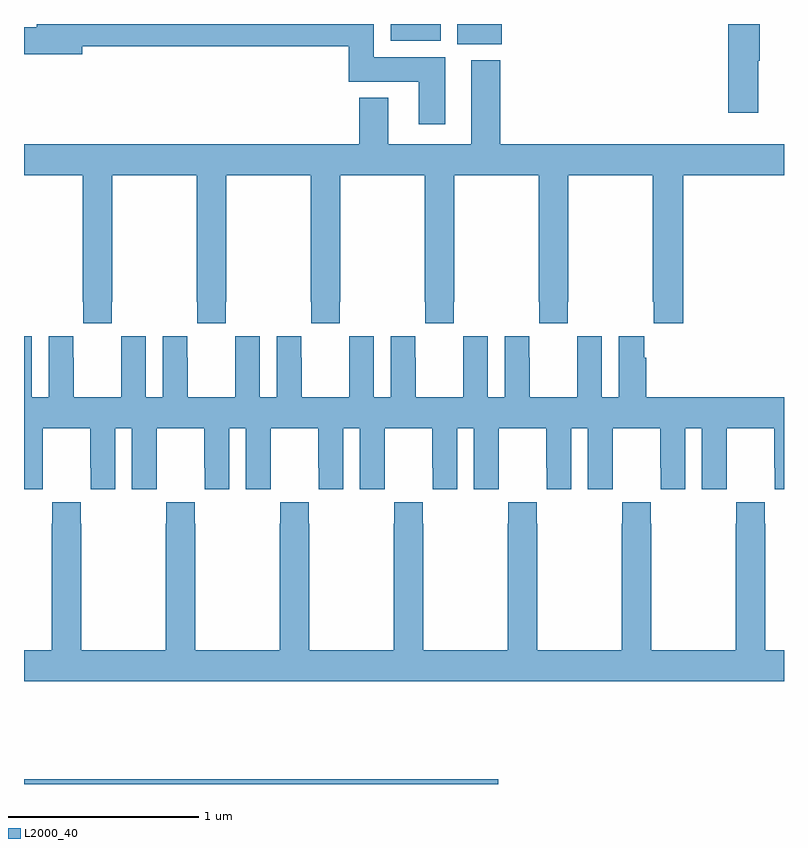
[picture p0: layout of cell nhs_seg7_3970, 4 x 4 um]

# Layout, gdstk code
import gdstk
lib = gdstk.Library(unit=1e-6, precision=1e-09)
def R(c, l, rs):  # rectangles x0, y0, x1, y1
    for r in rs: c.add(gdstk.rectangle(r[:2], r[2:], *l))
def P(c, l, *ps):  # polygons
    for p in ps: c.add(gdstk.Polygon(p, *l))
L2000_40 = (2000, 40)

nhs_seg7_3970 = lib.new_cell('nhs_seg7_3970')
R(nhs_seg7_3970, L2000_40, [(361,1076,363.496,1076.024), (363.281,1079.894,363.514,1080), (362.93,1079.912,363.193,1080)])
P(nhs_seg7_3970, L2000_40, [(364.864,1079.806),(364.872,1079.806),(364.872,1080),(364.706,1080),(364.706,1079.532),(364.864,1079.532)],
  [(363.217,1079.824),(362.842,1079.824),(362.842,1080),(361.067,1080),(361.067,1079.984),(361,1079.984),(361,1079.842),(361.306,1079.842),(361.306,1079.884),(362.708,1079.884),(362.708,1079.696),(363.077,1079.696),(363.077,1079.472),(363.217,1079.472)],
  [(361.461,1078.537),(361.464,1078.537),(361.464,1079.204),(361.909,1079.204),(361.909,1078.537),(361.911,1078.537),(361.911,1078.425),(362.061,1078.425),(362.061,1078.537),(362.064,1078.537),(362.064,1079.204),(362.509,1079.204),(362.509,1078.537),(362.511,1078.537),(362.511,1078.425),(362.661,1078.425),(362.661,1078.537),(362.664,1078.537),(362.664,1079.204),(363.109,1079.204),(363.109,1078.537),(363.111,1078.537),(363.111,1078.425),(363.261,1078.425),(363.261,1078.537),(363.264,1078.537),(363.264,1079.204),(363.709,1079.204),(363.709,1078.537),(363.711,1078.537),(363.711,1078.425),(363.861,1078.425),(363.861,1078.537),(363.864,1078.537),(363.864,1079.204),(364.309,1079.204),(364.309,1078.537),(364.315,1078.537),(364.315,1078.425),(364.469,1078.425),(364.469,1079.204),(365,1079.204),(365,1079.368),(363.506,1079.368),(363.506,1079.809),(363.353,1079.809),(363.353,1079.368),(362.917,1079.368),(362.917,1079.611),(362.765,1079.611),(362.765,1079.368),(361,1079.368),(361,1079.204),(361.309,1079.204),(361.309,1078.537),(361.311,1078.537),(361.311,1078.425),(361.461,1078.425)],
  [(361.098,1077.664),(361.099,1077.664),(361.099,1077.872),(361.349,1077.872),(361.349,1077.664),(361.35,1077.664),(361.35,1077.552),(361.48,1077.552),(361.48,1077.872),(361.568,1077.872),(361.568,1077.552),(361.698,1077.552),(361.698,1077.664),(361.699,1077.664),(361.699,1077.872),(361.949,1077.872),(361.949,1077.664),(361.95,1077.664),(361.95,1077.552),(362.08,1077.552),(362.08,1077.872),(362.168,1077.872),(362.168,1077.552),(362.298,1077.552),(362.298,1077.664),(362.299,1077.664),(362.299,1077.872),(362.549,1077.872),(362.549,1077.664),(362.55,1077.664),(362.55,1077.552),(362.68,1077.552),(362.68,1077.872),(362.768,1077.872),(362.768,1077.552),(362.898,1077.552),(362.898,1077.664),(362.899,1077.664),(362.899,1077.872),(363.149,1077.872),(363.149,1077.664),(363.15,1077.664),(363.15,1077.552),(363.28,1077.552),(363.28,1077.872),(363.368,1077.872),(363.368,1077.552),(363.498,1077.552),(363.498,1077.664),(363.499,1077.664),(363.499,1077.872),(363.749,1077.872),(363.749,1077.664),(363.75,1077.664),(363.75,1077.552),(363.88,1077.552),(363.88,1077.872),(363.968,1077.872),(363.968,1077.552),(364.098,1077.552),(364.098,1077.664),(364.099,1077.664),(364.099,1077.872),(364.349,1077.872),(364.349,1077.664),(364.35,1077.664),(364.35,1077.552),(364.48,1077.552),(364.48,1077.872),(364.568,1077.872),(364.568,1077.552),(364.698,1077.552),(364.698,1077.664),(364.699,1077.664),(364.699,1077.872),(364.949,1077.872),(364.949,1077.664),(364.95,1077.664),(364.95,1077.552),(365,1077.552),(365,1078.036),(364.274,1078.036),(364.274,1078.244),(364.264,1078.244),(364.264,1078.357),(364.13,1078.357),(364.13,1078.036),(364.042,1078.036),(364.042,1078.357),(363.912,1078.357),(363.912,1078.244),(363.911,1078.244),(363.911,1078.036),(363.661,1078.036),(363.661,1078.244),(363.66,1078.244),(363.66,1078.357),(363.53,1078.357),(363.53,1078.036),(363.442,1078.036),(363.442,1078.357),(363.312,1078.357),(363.312,1078.244),(363.311,1078.244),(363.311,1078.036),(363.061,1078.036),(363.061,1078.244),(363.06,1078.244),(363.06,1078.357),(362.93,1078.357),(362.93,1078.036),(362.842,1078.036),(362.842,1078.357),(362.712,1078.357),(362.712,1078.244),(362.711,1078.244),(362.711,1078.036),(362.461,1078.036),(362.461,1078.244),(362.46,1078.244),(362.46,1078.357),(362.33,1078.357),(362.33,1078.036),(362.242,1078.036),(362.242,1078.357),(362.112,1078.357),(362.112,1078.244),(362.111,1078.244),(362.111,1078.036),(361.861,1078.036),(361.861,1078.244),(361.86,1078.244),(361.86,1078.357),(361.73,1078.357),(361.73,1078.036),(361.642,1078.036),(361.642,1078.357),(361.512,1078.357),(361.512,1078.244),(361.511,1078.244),(361.511,1078.036),(361.261,1078.036),(361.261,1078.244),(361.26,1078.244),(361.26,1078.357),(361.13,1078.357),(361.13,1078.036),(361.042,1078.036),(361.042,1078.357),(361,1078.357),(361,1077.552),(361.098,1077.552)],
  [(361.899,1077.371),(361.899,1077.484),(361.749,1077.484),(361.749,1077.371),(361.747,1077.371),(361.747,1076.704),(361.302,1076.704),(361.302,1077.371),(361.299,1077.371),(361.299,1077.484),(361.149,1077.484),(361.149,1077.371),(361.147,1077.371),(361.147,1076.704),(361,1076.704),(361,1076.54),(365,1076.54),(365,1076.704),(364.902,1076.704),(364.902,1077.371),(364.899,1077.371),(364.899,1077.484),(364.749,1077.484),(364.749,1077.371),(364.747,1077.371),(364.747,1076.704),(364.302,1076.704),(364.302,1077.371),(364.299,1077.371),(364.299,1077.484),(364.149,1077.484),(364.149,1077.371),(364.147,1077.371),(364.147,1076.704),(363.702,1076.704),(363.702,1077.371),(363.699,1077.371),(363.699,1077.484),(363.549,1077.484),(363.549,1077.371),(363.547,1077.371),(363.547,1076.704),(363.102,1076.704),(363.102,1077.371),(363.099,1077.371),(363.099,1077.484),(362.949,1077.484),(362.949,1077.371),(362.947,1077.371),(362.947,1076.704),(362.502,1076.704),(362.502,1077.371),(362.499,1077.371),(362.499,1077.484),(362.349,1077.484),(362.349,1077.371),(362.347,1077.371),(362.347,1076.704),(361.902,1076.704),(361.902,1077.371)])

lib.write_gds('nhs_seg7_3970.gds')
